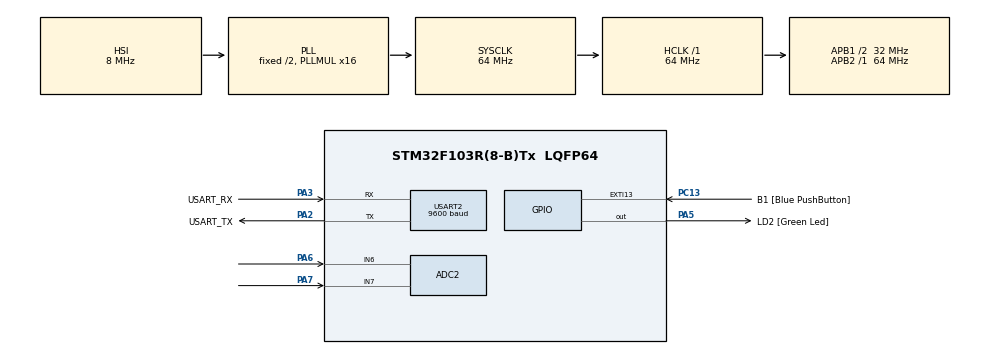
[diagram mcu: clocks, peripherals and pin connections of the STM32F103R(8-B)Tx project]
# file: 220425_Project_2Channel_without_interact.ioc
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ADC2.Channel-3\#ChannelRegularConversion=ADC_CHANNEL_6
ADC2.Channel-5\#ChannelRegularConversion=ADC_CHANNEL_7
ADC2.ContinuousConvMode=DISABLE
ADC2.DiscontinuousConvMode=ENABLE
ADC2.NbrOfConversion=2
ADC2.NbrOfConversionFlag=1
ADC2.Rank-3\#ChannelRegularConversion=1
ADC2.Rank-5\#ChannelRegularConversion=2
ADC2.SamplingTime-3\#ChannelRegularConversion=ADC_SAMPLETIME_239CYCLES_5
ADC2.SamplingTime-5\#ChannelRegularConversion=ADC_SAMPLETIME_239CYCLES_5
Mcu.Family=STM32F1
Mcu.Name=STM32F103R(8-B)Tx
Mcu.Package=LQFP64
NVIC.EXTI15_10_IRQn=true\:0\:0\:false\:false\:true\:true\:true\:true
NVIC.PriorityGroup=NVIC_PRIORITYGROUP_4
PA13.GPIO_Label=TMS
PA13.Mode=Serial_Wire
PA13.Signal=SYS_JTMS-SWDIO
PA14.GPIO_Label=TCK
PA14.Mode=Serial_Wire
PA14.Signal=SYS_JTCK-SWCLK
PA2.GPIO_Label=USART_TX
PA2.GPIO_Mode=GPIO_MODE_AF_PP
PA2.GPIO_PuPd=GPIO_NOPULL
PA2.GPIO_Speed=GPIO_SPEED_FREQ_LOW
PA2.Mode=Asynchronous
PA2.Signal=USART2_TX
PA3.GPIO_Label=USART_RX
PA3.GPIO_Mode=GPIO_MODE_AF_PP
PA3.GPIO_PuPd=GPIO_NOPULL
PA3.GPIO_Speed=GPIO_SPEED_FREQ_LOW
PA3.Mode=Asynchronous
PA3.Signal=USART2_RX
PA5.GPIO_Label=LD2 [Green Led]
PA5.GPIO_ModeDefaultOutputPP=GPIO_MODE_OUTPUT_PP
PA5.GPIO_PuPd=GPIO_NOPULL
PA5.GPIO_Speed=GPIO_SPEED_FREQ_LOW
PA5.Signal=GPIO_Output
PA6.Signal=ADCx_IN6
PA7.Signal=ADCx_IN7
PB3.GPIO_Label=SWO
PB3.Signal=SYS_JTDO-TRACESWO
PC13-TAMPER-RTC.GPIO_Label=B1 [Blue PushButton]
PC13-TAMPER-RTC.GPIO_PuPd=GPIO_NOPULL
PC13-TAMPER-RTC.Signal=GPXTI13
PC14-OSC32_IN.Mode=LSE-External-Oscillator
PC14-OSC32_IN.Signal=RCC_OSC32_IN
PC15-OSC32_OUT.Mode=LSE-External-Oscillator
PC15-OSC32_OUT.Signal=RCC_OSC32_OUT
PD0-OSC_IN.Mode=HSE-External-Clock-Source
PD0-OSC_IN.Signal=RCC_OSC_IN
PD1-OSC_OUT.Mode=HSE-External-Clock-Source
PD1-OSC_OUT.Signal=RCC_OSC_OUT
ProjectManager.HeapSize=0x200
ProjectManager.StackSize=0x400
ProjectManager.TargetToolchain=STM32CubeIDE
RCC.ADCPresc=RCC_ADCPCLK2_DIV8
RCC.AHBFreq_Value=64000000
RCC.APB1CLKDivider=RCC_HCLK_DIV2
RCC.APB1Freq_Value=32000000
RCC.APB1TimFreq_Value=64000000
RCC.APB2Freq_Value=64000000
RCC.APB2TimFreq_Value=64000000
RCC.HCLKFreq_Value=64000000
RCC.PLLMUL=RCC_PLL_MUL16
RCC.RTCClockSelection=RCC_RTCCLKSOURCE_LSE
RCC.SYSCLKFreq_VALUE=64000000
RCC.SYSCLKSource=RCC_SYSCLKSOURCE_PLLCLK
RCC.USBFreq_Value=64000000
SH.ADCx_IN6.0=ADC2_IN6,IN6
SH.ADCx_IN7.0=ADC2_IN7,IN7
USART2.BaudRate=9600
USART2.VirtualMode=VM_ASYNC
board=NUCLEO-F103RB

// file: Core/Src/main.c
/* USER CODE BEGIN Header */
/**
  ******************************************************************************
  * @file           : main.c
  * @brief          : Main program body
  ******************************************************************************
  * @attention
  *
  * Copyright (c) 2022 STMicroelectronics.
  * All rights reserved.
  *
  * This software is licensed under terms that can be found in the LICENSE file
  * in the root directory of this software component.
  * If no LICENSE file comes with this software, it is provided AS-IS.
  *
  ******************************************************************************
  */
/* USER CODE END Header */
#include "main.h"

 ADC_HandleTypeDef hadc2;

UART_HandleTypeDef huart2;

void SystemClock_Config(void);
static void MX_GPIO_Init(void);
static void MX_USART2_UART_Init(void);
static void MX_ADC2_Init(void);
/* USER CODE BEGIN PFP */
#ifdef __GNUC__
/* With GCC, small printf (option LD Linker->Libraries->Small printf
   set to 'Yes') calls __io_putchar() */
#define PUTCHAR_PROTOTYPE int __io_putchar(int ch)
#else
#define PUTCHAR_PROTOTYPE int fputc(int ch, FILE *f)
#endif /* __GNUC__ */

ADC_ChannelConfTypeDef sihyeongConfig = {0};
/* USER CODE END PFP */

/* USER CODE BEGIN 0 */

void ADC_Select_CH6(void){
	  sihyeongConfig.Channel = ADC_CHANNEL_6;
	  sihyeongConfig.Rank = ADC_REGULAR_RANK_1;
	  sihyeongConfig.SamplingTime = ADC_SAMPLETIME_41CYCLES_5 ;
	  if (HAL_ADC_ConfigChannel(&hadc2, &sihyeongConfig) != HAL_OK)
	  {
	    Error_Handler();
	  }
}

void ADC_Select_CH7(void){
	  sihyeongConfig.Channel = ADC_CHANNEL_7;
	  sihyeongConfig.Rank = ADC_REGULAR_RANK_2;
	  sihyeongConfig.SamplingTime = ADC_SAMPLETIME_28CYCLES_5 ;
	  if (HAL_ADC_ConfigChannel(&hadc2, &sihyeongConfig) != HAL_OK)
	  {
	    Error_Handler();
	  }
}

uint32_t adcValue1 =0;
uint32_t adcValue2 =0;

/* USER CODE END 0 */

int main(void)
{

  /* MCU Configuration--------------------------------------------------------*/

  /* Reset of all peripherals, Initializes the Flash interface and the Systick. */
  HAL_Init();

  /* Configure the system clock */
  SystemClock_Config();

  /* Initialize all configured peripherals */
  MX_GPIO_Init();
  MX_USART2_UART_Init();
  MX_ADC2_Init();
  /* USER CODE BEGIN 2 */

  while(HAL_ADCEx_Calibration_Start(&hadc2) != HAL_OK);
  /* USER CODE END 2 */

  /* Infinite loop */
  /* USER CODE BEGIN WHILE */
  while (1)
  {

	  HAL_ADC_Start(&hadc2);
	  HAL_ADC_PollForConversion(&hadc2, 100);
	  adcValue1 = HAL_ADC_GetValue(&hadc2);

	  HAL_ADC_Start(&hadc2);
	  HAL_ADC_PollForConversion(&hadc2, 100);
	  adcValue2 = HAL_ADC_GetValue(&hadc2);

	 /* if(adcValue1>2000 && adcValue1-adcValue2>300) adcValue2 = adcValue2-(adcValue1-2000)*0.31;
	  if(adcValue2>2000 && adcValue2-adcValue1>300) adcValue1 = adcValue1-(adcValue2-2000)*0.31;*/
	  printf("ADC1 : %d      ADC2 : %d\r\n",adcValue1, adcValue2);

    /* USER CODE END WHILE */

  }
}

void SystemClock_Config(void)
{
  RCC_OscInitTypeDef RCC_OscInitStruct = {0};
  RCC_ClkInitTypeDef RCC_ClkInitStruct = {0};
  RCC_PeriphCLKInitTypeDef PeriphClkInit = {0};

  /** Initializes the RCC Oscillators according to the specified parameters
  * in the RCC_OscInitTypeDef structure.
  */
  RCC_OscInitStruct.OscillatorType = RCC_OSCILLATORTYPE_HSI;
  RCC_OscInitStruct.HSIState = RCC_HSI_ON;
  RCC_OscInitStruct.HSICalibrationValue = RCC_HSICALIBRATION_DEFAULT;
  RCC_OscInitStruct.PLL.PLLState = RCC_PLL_ON;
  RCC_OscInitStruct.PLL.PLLSource = RCC_PLLSOURCE_HSI_DIV2;
  RCC_OscInitStruct.PLL.PLLMUL = RCC_PLL_MUL16;
  if (HAL_RCC_OscConfig(&RCC_OscInitStruct) != HAL_OK)
  {
    Error_Handler();
  }

  /** Initializes the CPU, AHB and APB buses clocks
  */
  RCC_ClkInitStruct.ClockType = RCC_CLOCKTYPE_HCLK|RCC_CLOCKTYPE_SYSCLK
                              |RCC_CLOCKTYPE_PCLK1|RCC_CLOCKTYPE_PCLK2;
  RCC_ClkInitStruct.SYSCLKSource = RCC_SYSCLKSOURCE_PLLCLK;
  RCC_ClkInitStruct.AHBCLKDivider = RCC_SYSCLK_DIV1;
  RCC_ClkInitStruct.APB1CLKDivider = RCC_HCLK_DIV2;
  RCC_ClkInitStruct.APB2CLKDivider = RCC_HCLK_DIV1;

  if (HAL_RCC_ClockConfig(&RCC_ClkInitStruct, FLASH_LATENCY_2) != HAL_OK)
  {
    Error_Handler();
  }
  PeriphClkInit.PeriphClockSelection = RCC_PERIPHCLK_ADC;
  PeriphClkInit.AdcClockSelection = RCC_ADCPCLK2_DIV8;
  if (HAL_RCCEx_PeriphCLKConfig(&PeriphClkInit) != HAL_OK)
  {
    Error_Handler();
  }
}

static void MX_ADC2_Init(void)
{

  ADC_ChannelConfTypeDef sConfig = {0};

  /** Common config
  */
  hadc2.Instance = ADC2;
  hadc2.Init.ScanConvMode = ADC_SCAN_ENABLE;
  hadc2.Init.ContinuousConvMode = DISABLE;
  hadc2.Init.DiscontinuousConvMode = ENABLE;
  hadc2.Init.NbrOfDiscConversion = 1;
  hadc2.Init.ExternalTrigConv = ADC_SOFTWARE_START;
  hadc2.Init.DataAlign = ADC_DATAALIGN_RIGHT;
  hadc2.Init.NbrOfConversion = 2;
  if (HAL_ADC_Init(&hadc2) != HAL_OK)
  {
    Error_Handler();
  }

  /** Configure Regular Channel
  */
  sConfig.Channel = ADC_CHANNEL_6;
  sConfig.Rank = ADC_REGULAR_RANK_1;
  sConfig.SamplingTime = ADC_SAMPLETIME_239CYCLES_5;
  if (HAL_ADC_ConfigChannel(&hadc2, &sConfig) != HAL_OK)
  {
    Error_Handler();
  }

  /** Configure Regular Channel
  */
  sConfig.Channel = ADC_CHANNEL_7;
  sConfig.Rank = ADC_REGULAR_RANK_2;
  if (HAL_ADC_ConfigChannel(&hadc2, &sConfig) != HAL_OK)
  {
    Error_Handler();
  }

}

static void MX_USART2_UART_Init(void)
{

  huart2.Instance = USART2;
  huart2.Init.BaudRate = 9600;
  huart2.Init.WordLength = UART_WORDLENGTH_8B;
  huart2.Init.StopBits = UART_STOPBITS_1;
  huart2.Init.Parity = UART_PARITY_NONE;
  huart2.Init.Mode = UART_MODE_TX_RX;
  huart2.Init.HwFlowCtl = UART_HWCONTROL_NONE;
  huart2.Init.OverSampling = UART_OVERSAMPLING_16;
  if (HAL_UART_Init(&huart2) != HAL_OK)
  {
    Error_Handler();
  }

}

static void MX_GPIO_Init(void)
{
  GPIO_InitTypeDef GPIO_InitStruct = {0};

  /* GPIO Ports Clock Enable */
  __HAL_RCC_GPIOC_CLK_ENABLE();
  __HAL_RCC_GPIOD_CLK_ENABLE();
  __HAL_RCC_GPIOA_CLK_ENABLE();
  __HAL_RCC_GPIOB_CLK_ENABLE();

  /*Configure GPIO pin Output Level */
  HAL_GPIO_WritePin(LD2_GPIO_Port, LD2_Pin, GPIO_PIN_RESET);

  /*Configure GPIO pin : B1_Pin */
  GPIO_InitStruct.Pin = B1_Pin;
  GPIO_InitStruct.Mode = GPIO_MODE_IT_RISING;
  GPIO_InitStruct.Pull = GPIO_NOPULL;
  HAL_GPIO_Init(B1_GPIO_Port, &GPIO_InitStruct);

  /*Configure GPIO pin : LD2_Pin */
  GPIO_InitStruct.Pin = LD2_Pin;
  GPIO_InitStruct.Mode = GPIO_MODE_OUTPUT_PP;
  GPIO_InitStruct.Pull = GPIO_NOPULL;
  GPIO_InitStruct.Speed = GPIO_SPEED_FREQ_LOW;
  HAL_GPIO_Init(LD2_GPIO_Port, &GPIO_InitStruct);

  /* EXTI interrupt init*/
  HAL_NVIC_SetPriority(EXTI15_10_IRQn, 0, 0);
  HAL_NVIC_EnableIRQ(EXTI15_10_IRQn);

}

/* USER CODE BEGIN 4 */
PUTCHAR_PROTOTYPE
{
  /* Place your implementation of fputc here */
  /* e.g. write a character to the USART1 and Loop until the end of transmission */
  HAL_UART_Transmit(&huart2,(uint8_t *)&ch, 1, 0xFFFF);

  return ch;
}
/* USER CODE END 4 */

void Error_Handler(void)
{
  __disable_irq();
  while (1)
  {
  }
}
